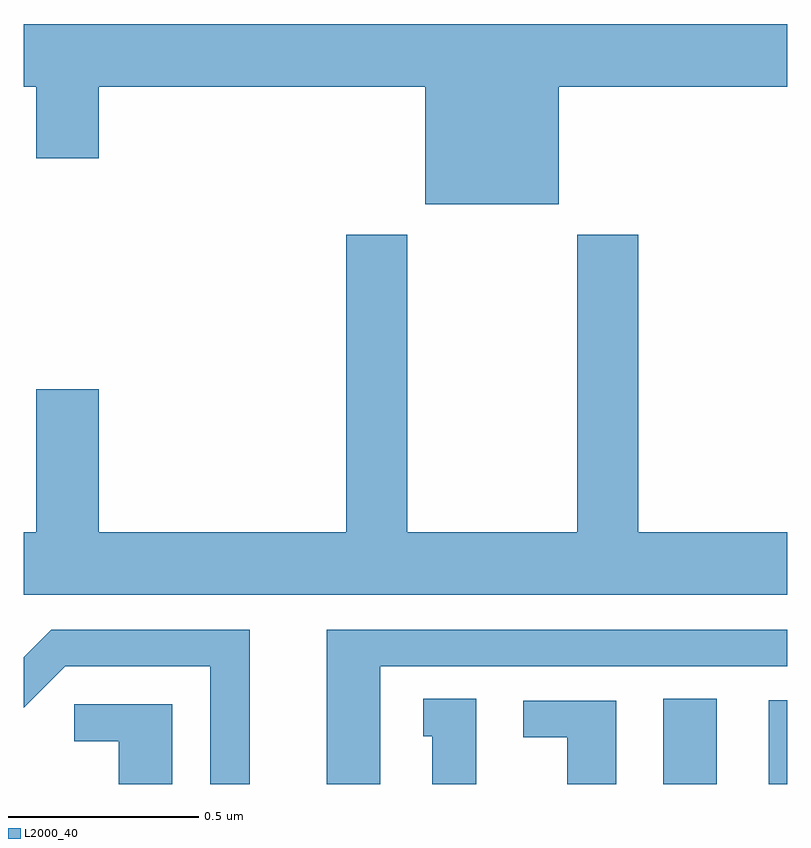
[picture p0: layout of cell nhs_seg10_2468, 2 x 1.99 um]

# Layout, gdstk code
import gdstk
lib = gdstk.Library(unit=1e-6, precision=1e-09)
def R(c, l, rs):  # rectangles x0, y0, x1, y1
    for r in rs: c.add(gdstk.rectangle(r[:2], r[2:], *l))
def P(c, l, *ps):  # polygons
    for p in ps: c.add(gdstk.Polygon(p, *l))
L2000_40 = (2000, 40)

nhs_seg10_2468 = lib.new_cell('nhs_seg10_2468')
R(nhs_seg10_2468, L2000_40, [(142.676,1286.5,142.816,1286.723), (142.952,1286.5,143,1286.719)])
P(nhs_seg10_2468, L2000_40, [(142.402,1288.328),(143,1288.328),(143,1288.492),(141,1288.492),(141,1288.328),(141.032,1288.328),(141.032,1288.14),(141.196,1288.14),(141.196,1288.328),(142.052,1288.328),(142.052,1288.019),(142.402,1288.019)],
  [(143,1287.16),(142.61,1287.16),(142.61,1287.94),(142.45,1287.94),(142.45,1287.16),(142.005,1287.16),(142.005,1287.94),(141.845,1287.94),(141.845,1287.16),(141.196,1287.16),(141.196,1287.535),(141.032,1287.535),(141.032,1287.16),(141,1287.16),(141,1286.996),(143,1286.996)],
  [(141.934,1286.808),(143,1286.808),(143,1286.904),(141.794,1286.904),(141.794,1286.5),(141.934,1286.5)],
  [(141.592,1286.904),(141.072,1286.904),(141,1286.832),(141,1286.7),(141.108,1286.808),(141.488,1286.808),(141.488,1286.5),(141.592,1286.5)],
  [(142.186,1286.723),(142.046,1286.723),(142.046,1286.625),(142.07,1286.625),(142.07,1286.5),(142.186,1286.5)],
  [(142.552,1286.718),(142.308,1286.718),(142.308,1286.622),(142.424,1286.622),(142.424,1286.5),(142.552,1286.5)],
  [(141.388,1286.709),(141.132,1286.709),(141.132,1286.612),(141.248,1286.612),(141.248,1286.5),(141.388,1286.5)])

lib.write_gds('nhs_seg10_2468.gds')
